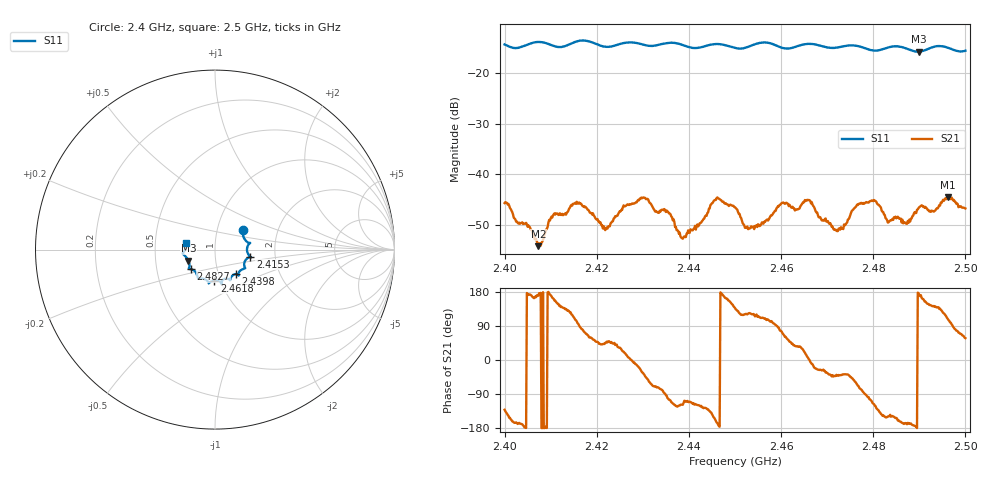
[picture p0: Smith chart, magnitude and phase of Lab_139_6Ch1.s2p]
# Hz S RI R 50
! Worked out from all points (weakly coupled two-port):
!   601 points, 2.4 GHz to 2.5 GHz, reference 50 ohm
!   highest |S21| = -44.47 dB at 2.4962 GHz (marker M1); lowest = -54.1 dB at 2.4073 GHz (marker M2)
!   lowest |S11| = -15.9 dB at 2.4898 GHz (marker M3), VSWR 1.38, Z = 36.9 - j4.65 ohm
!   |S11| at or under -10 dB: start of sweep to end of sweep
!   S12 and S22 are empty: the file has one direction only
!   S11 on the Smith chart (normalised r, x): 2.4 GHz: 1.33, +0.29; 2.4153 GHz: 1.48, -0.12; 2.4398 GHz: 1.21, -0.34; 2.4618 GHz: 0.94, -0.33; 2.4827 GHz: 0.75, -0.17; 2.5 GHz: 0.72, +0.06
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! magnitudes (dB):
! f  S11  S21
! 2.4 GHz  -14.5  -45.6
! 2.4073 GHz  -14.0  -54.1
! 2.4105 GHz  -14.7  -48.0
! 2.4153 GHz  -14.0  -45.6
! 2.4167 GHz  -13.7  -45.8
! 2.4218 GHz  -14.9  -50.9
! 2.4298 GHz  -14.5  -44.7
! 2.4333 GHz  -14.6  -47.5
! 2.4398 GHz  -15.0  -51.0
! 2.4458 GHz  -14.4  -45.0
! 2.45 GHz  -15.2  -46.4
! 2.4528 GHz  -15.0  -50.7
! 2.4618 GHz  -15.2  -46.0
! 2.4667 GHz  -14.4  -45.4
! 2.4718 GHz  -15.1  -51.0
! 2.4773 GHz  -15.0  -45.6
! 2.4802 GHz  -15.7  -45.0
! 2.4827 GHz  -15.2  -48.6
! 2.4833 GHz  -15.0  -49.4
! 2.4898 GHz  -15.9  -46.6
! 2.4962 GHz  -15.1  -44.5
! 2.5 GHz  -15.7  -46.7
